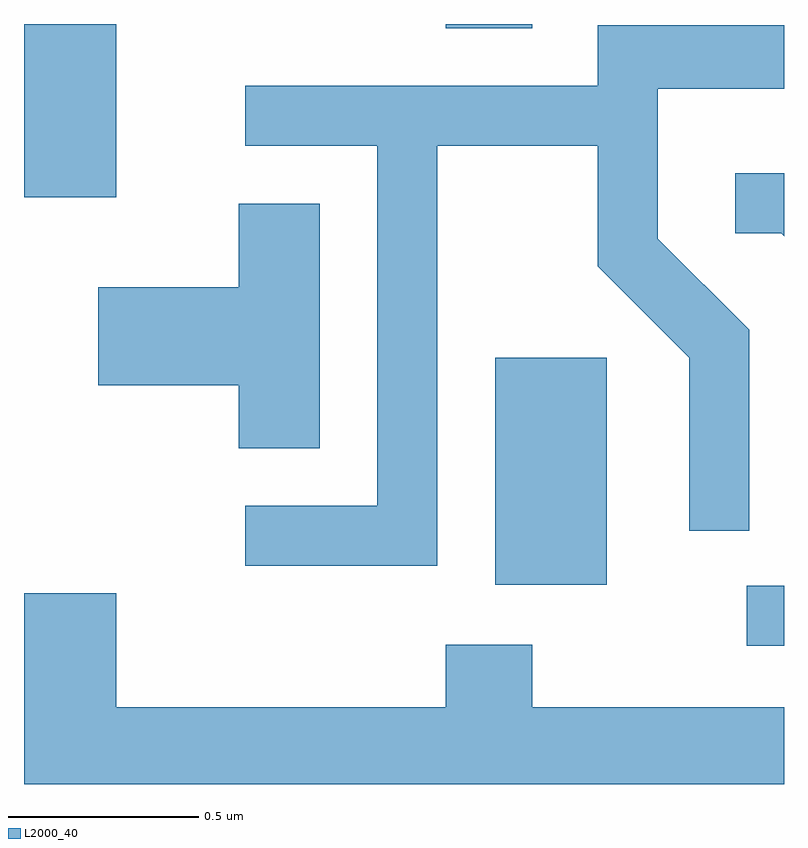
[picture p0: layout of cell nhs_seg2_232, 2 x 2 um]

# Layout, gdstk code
import gdstk
lib = gdstk.Library(unit=1e-6, precision=1e-09)
def R(c, l, rs):  # rectangles x0, y0, x1, y1
    for r in rs: c.add(gdstk.rectangle(r[:2], r[2:], *l))
def P(c, l, *ps):  # polygons
    for p in ps: c.add(gdstk.Polygon(p, *l))
L2000_40 = (2000, 40)

nhs_seg2_232 = lib.new_cell('nhs_seg2_232')
R(nhs_seg2_232, L2000_40, [(188.513,1073.166,188.611,1073.324), (187.851,1073.326,188.144,1073.924), (186.611,1074.346,186.854,1074.802), (187.721,1074.791,187.949,1074.802)])
P(nhs_seg2_232, L2000_40, [(187.699,1074.481),(188.121,1074.481),(188.121,1074.164),(188.361,1073.924),(188.361,1073.468),(188.519,1073.468),(188.519,1073.997),(188.279,1074.237),(188.279,1074.631),(188.611,1074.631),(188.611,1074.799),(188.121,1074.799),(188.121,1074.639),(187.193,1074.639),(187.193,1074.481),(187.541,1074.481),(187.541,1073.534),(187.193,1073.534),(187.193,1073.376),(187.699,1073.376)],
  [(188.611,1074.409),(188.483,1074.409),(188.483,1074.251),(188.604,1074.251),(188.611,1074.244)],
  [(187.389,1074.329),(187.176,1074.329),(187.176,1074.109),(186.806,1074.109),(186.806,1073.851),(187.176,1073.851),(187.176,1073.686),(187.389,1073.686)],
  [(188.611,1073.004),(187.949,1073.004),(187.949,1073.169),(187.721,1073.169),(187.721,1073.004),(186.854,1073.004),(186.854,1073.304),(186.611,1073.304),(186.611,1072.802),(188.611,1072.802)])

lib.write_gds('nhs_seg2_232.gds')
